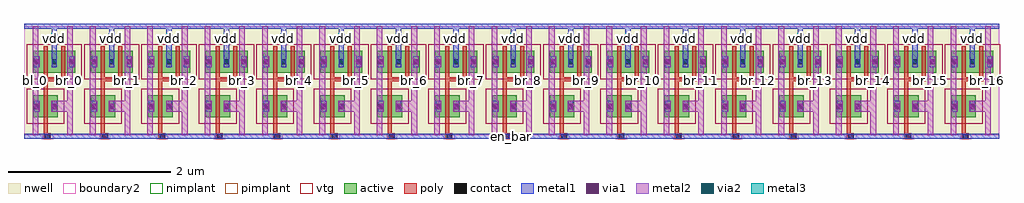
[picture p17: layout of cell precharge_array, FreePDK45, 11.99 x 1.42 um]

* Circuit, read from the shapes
.subckt precharge_array bl_0 bl_1 bl_10 bl_11 bl_12 bl_13 bl_14 bl_15 bl_16 bl_2 bl_3 bl_4 bl_5 bl_6 bl_7 bl_8 bl_9 br_0 br_1 br_10 br_11 br_12 br_13 br_14 br_15 br_16 br_2 br_3 br_4 br_5 br_6 br_7 br_8 br_9 en_bar vdd
M1 br_0 en_bar bl_0 vdd pfet w=0.27u l=0.05u
M2 vdd en_bar bl_0 vdd pfet w=0.27u l=0.05u
M3 br_0 en_bar vdd vdd pfet w=0.27u l=0.05u
M4 br_1 en_bar bl_1 vdd pfet w=0.27u l=0.05u
M5 vdd en_bar bl_1 vdd pfet w=0.27u l=0.05u
M6 br_1 en_bar vdd vdd pfet w=0.27u l=0.05u
M7 br_2 en_bar bl_2 vdd pfet w=0.27u l=0.05u
M8 vdd en_bar bl_2 vdd pfet w=0.27u l=0.05u
M9 br_2 en_bar vdd vdd pfet w=0.27u l=0.05u
M10 br_3 en_bar bl_3 vdd pfet w=0.27u l=0.05u
M11 vdd en_bar bl_3 vdd pfet w=0.27u l=0.05u
M12 br_3 en_bar vdd vdd pfet w=0.27u l=0.05u
M13 br_4 en_bar bl_4 vdd pfet w=0.27u l=0.05u
M14 vdd en_bar bl_4 vdd pfet w=0.27u l=0.05u
M15 br_4 en_bar vdd vdd pfet w=0.27u l=0.05u
M16 br_5 en_bar bl_5 vdd pfet w=0.27u l=0.05u
M17 vdd en_bar bl_5 vdd pfet w=0.27u l=0.05u
M18 br_5 en_bar vdd vdd pfet w=0.27u l=0.05u
M19 br_6 en_bar bl_6 vdd pfet w=0.27u l=0.05u
M20 vdd en_bar bl_6 vdd pfet w=0.27u l=0.05u
M21 br_6 en_bar vdd vdd pfet w=0.27u l=0.05u
M22 br_7 en_bar bl_7 vdd pfet w=0.27u l=0.05u
M23 vdd en_bar bl_7 vdd pfet w=0.27u l=0.05u
M24 br_7 en_bar vdd vdd pfet w=0.27u l=0.05u
M25 br_8 en_bar bl_8 vdd pfet w=0.27u l=0.05u
M26 vdd en_bar bl_8 vdd pfet w=0.27u l=0.05u
M27 br_8 en_bar vdd vdd pfet w=0.27u l=0.05u
M28 br_9 en_bar bl_9 vdd pfet w=0.27u l=0.05u
M29 vdd en_bar bl_9 vdd pfet w=0.27u l=0.05u
M30 br_9 en_bar vdd vdd pfet w=0.27u l=0.05u
M31 br_10 en_bar bl_10 vdd pfet w=0.27u l=0.05u
M32 vdd en_bar bl_10 vdd pfet w=0.27u l=0.05u
M33 br_10 en_bar vdd vdd pfet w=0.27u l=0.05u
M34 br_11 en_bar bl_11 vdd pfet w=0.27u l=0.05u
M35 vdd en_bar bl_11 vdd pfet w=0.27u l=0.05u
M36 br_11 en_bar vdd vdd pfet w=0.27u l=0.05u
M37 br_12 en_bar bl_12 vdd pfet w=0.27u l=0.05u
M38 vdd en_bar bl_12 vdd pfet w=0.27u l=0.05u
M39 br_12 en_bar vdd vdd pfet w=0.27u l=0.05u
M40 br_13 en_bar bl_13 vdd pfet w=0.27u l=0.05u
M41 vdd en_bar bl_13 vdd pfet w=0.27u l=0.05u
M42 br_13 en_bar vdd vdd pfet w=0.27u l=0.05u
M43 br_14 en_bar bl_14 vdd pfet w=0.27u l=0.05u
M44 vdd en_bar bl_14 vdd pfet w=0.27u l=0.05u
M45 br_14 en_bar vdd vdd pfet w=0.27u l=0.05u
M46 br_15 en_bar bl_15 vdd pfet w=0.27u l=0.05u
M47 vdd en_bar bl_15 vdd pfet w=0.27u l=0.05u
M48 br_15 en_bar vdd vdd pfet w=0.27u l=0.05u
M49 br_16 en_bar bl_16 vdd pfet w=0.27u l=0.05u
M50 vdd en_bar bl_16 vdd pfet w=0.27u l=0.05u
M51 br_16 en_bar vdd vdd pfet w=0.27u l=0.05u
.ends

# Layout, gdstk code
import gdstk
lib = gdstk.Library(unit=1e-6, precision=5e-10)
def R(c, l, rs):  # rectangles x0, y0, x1, y1
    for r in rs: c.add(gdstk.rectangle(r[:2], r[2:], *l))
def A(c, l, x, y, w, h, nx, ny, dx, dy):  # array of equal rectangles
    R(c, l, [(x+i*dx, y+j*dy, x+i*dx+w, y+j*dy+h) for i in range(nx) for j in range(ny)])
active = (1, 0)
nwell = (3, 0)
nimplant = (4, 0)
pimplant = (5, 0)
vtg = (6, 0)
poly = (9, 0)
contact = (10, 0)
metal1 = (11, 0)
via1 = (12, 0)
metal2 = (13, 0)
via2 = (14, 0)
metal3 = (15, 0)
boundary2 = (239, 0)

contact_9 = lib.new_cell('contact_9')
R(contact_9, active, [(0,0.0225,0.09,0.1125)])
R(contact_9, nwell, [(-0.055,-0.0325,0.145,0.1675)])
R(contact_9, pimplant, [(0,0.0225,0.09,0.1125)])
R(contact_9, contact, [(0.0125,0.035,0.0775,0.1)])
R(contact_9, metal1, [(0.0125,0,0.0775,0.135)])
R(contact_9, boundary2, [(-0.055,-0.0325,0.145,0.1675)])

pmos_m1_w0_270_sm1_dm1 = lib.new_cell('pmos_m1_w0_270_sm1_dm1')
R(pmos_m1_w0_270_sm1_dm1, active, [(0,0,0.305,0.27)])
R(pmos_m1_w0_270_sm1_dm1, nwell, [(-0.08,-0.08,0.385,0.35)])
R(pmos_m1_w0_270_sm1_dm1, pimplant, [(0,0,0.305,0.27)])
R(pmos_m1_w0_270_sm1_dm1, vtg, [(-0.08,-0.08,0.385,0.35)])
R(pmos_m1_w0_270_sm1_dm1, poly, [(0.1275,-0.055,0.1775,0.325), (0.1275,-0.055,0.1775,0.325)])
R(pmos_m1_w0_270_sm1_dm1, metal1, [(0.0125,0.0675,0.0775,0.2025), (0.2275,0.0675,0.2925,0.2025)])
R(pmos_m1_w0_270_sm1_dm1, boundary2, [(-0.08,-0.08,0.385,0.35)])
pmos_m1_w0_270_sm1_dm1.add(gdstk.Reference(contact_9, (0,0.0675)))
pmos_m1_w0_270_sm1_dm1.add(gdstk.Reference(contact_9, (0.215,0.0675)))
pmos_m1_w0_270_sm1_dm1.add(gdstk.Label('G', (0.1525,0.135), layer=9, texttype=0))
pmos_m1_w0_270_sm1_dm1.add(gdstk.Label('S', (0.045,0.135), layer=11, texttype=0))
pmos_m1_w0_270_sm1_dm1.add(gdstk.Label('D', (0.26,0.135), layer=11, texttype=0))

contact_10 = lib.new_cell('contact_10')
R(contact_10, poly, [(0.03,0,0.105,0.075)])
R(contact_10, contact, [(0.035,0.005,0.1,0.07)])
R(contact_10, metal1, [(0,0.005,0.135,0.07)])
R(contact_10, boundary2, [(0,0,0.135,0.075)])

contact_11 = lib.new_cell('contact_11')
R(contact_11, active, [(0.0225,0,0.1125,0.09)])
R(contact_11, nwell, [(-0.0325,-0.055,0.1675,0.145)])
R(contact_11, nimplant, [(0.0225,0,0.1125,0.09)])
R(contact_11, contact, [(0.035,0.0125,0.1,0.0775)])
R(contact_11, metal1, [(0,0.0125,0.135,0.0775)])
R(contact_11, boundary2, [(-0.0325,-0.055,0.1675,0.145)])

contact_6 = lib.new_cell('contact_6')
R(contact_6, metal1, [(0,0.035,0.135,0.1)])
R(contact_6, via1, [(0.035,0.035,0.1,0.1)])
R(contact_6, metal2, [(0.0325,0,0.1025,0.135)])
R(contact_6, boundary2, [(0,0,0.135,0.135)])

contact_12 = lib.new_cell('contact_12')
R(contact_12, metal1, [(0.0025,0,0.0675,0.135)])
R(contact_12, via1, [(0.0025,0.035,0.0675,0.1)])
R(contact_12, metal2, [(0,0,0.07,0.135)])
R(contact_12, boundary2, [(0,0,0.07,0.135)])

contact_13 = lib.new_cell('contact_13')
R(contact_13, metal2, [(0,0,0.07,0.135)])
R(contact_13, via2, [(0.0025,0.035,0.0675,0.1)])
R(contact_13, metal3, [(0,0,0.07,0.135)])
R(contact_13, boundary2, [(0,0,0.07,0.135)])

precharge_0 = lib.new_cell('precharge_0')
R(precharge_0, nwell, [(0,0,0.705,1.34)])
R(precharge_0, poly, [(0.24,-0.0375,0.29,0.0125), (0.265,-0.0375,0.29,0.0125), (0.24,-0.0125,0.29,0.165), (0.24,0.545,0.29,0.715), (0.24,0.665,0.505,0.715)])
R(precharge_0, metal1, [(0,-0.045,0.705,0.02), (0.34,0.8725,0.405,0.9375), (0.34,0.905,0.405,1.34), (0,1.3075,0.705,1.3725)])
R(precharge_0, metal2, [(0.105,0,0.175,1.34), (0.105,0,0.175,1.34), (0.53,0,0.6,1.34), (0.53,0,0.6,1.34), (0.14,0.2875,0.1575,0.4225), (0.3725,0.2875,0.565,0.4225), (0.14,0.8375,0.1575,0.9725), (0.565,0.8375,0.5875,0.9725)])
R(precharge_0, metal3, [(0.3375,1.1175,0.4075,1.2525)])
R(precharge_0, boundary2, [(0,0,0.705,1.34)])
precharge_0.add(gdstk.Reference(pmos_m1_w0_270_sm1_dm1, (0.1125,0.22)))
precharge_0.add(gdstk.Reference(pmos_m1_w0_270_sm1_dm1, (0.1125,0.77)))
precharge_0.add(gdstk.Reference(pmos_m1_w0_270_sm1_dm1, (0.3275,0.77)))
precharge_0.add(gdstk.Reference(contact_10, (0.2225,-0.05)))
precharge_0.add(gdstk.Reference(contact_11, (0.305,1.14)))
precharge_0.add(gdstk.Reference(contact_6, (0.305,1.1175)))
precharge_0.add(gdstk.Reference(contact_12, (0.3375,1.1175)))
precharge_0.add(gdstk.Reference(contact_13, (0.3375,1.1175)))
precharge_0.add(gdstk.Reference(contact_12, (0.1225,0.2875)))
precharge_0.add(gdstk.Reference(contact_12, (0.3375,0.2875)))
precharge_0.add(gdstk.Reference(contact_12, (0.1225,0.8375)))
precharge_0.add(gdstk.Reference(contact_12, (0.5525,0.8375)))
precharge_0.add(gdstk.Label('en_bar', (0.3525,-0.0125), layer=11, texttype=0))
precharge_0.add(gdstk.Label('vdd', (0.3725,1.185), layer=15, texttype=0))
precharge_0.add(gdstk.Label('bl', (0.14,0.67), layer=13, texttype=0))
precharge_0.add(gdstk.Label('br', (0.565,0.67), layer=13, texttype=0))

precharge_array = lib.new_cell('precharge_array')
A(precharge_array, metal1, 0.32, -0.045, 0.065, 0.065, 17, 1, 0.705, 0)
R(precharge_array, metal1, [(0,-0.045,11.985,0.02)])
R(precharge_array, metal2, [(0.105,0,0.175,1.34), (0.53,0,0.6,1.34), (0.81,0,0.88,1.34), (1.235,0,1.305,1.34), (1.515,0,1.585,1.34), (1.94,0,2.01,1.34), (2.22,0,2.29,1.34), (2.645,0,2.715,1.34), (2.925,0,2.995,1.34), (3.35,0,3.42,1.34), (3.63,0,3.7,1.34), (4.055,0,4.125,1.34), (4.335,0,4.405,1.34), (4.76,0,4.83,1.34), (5.04,0,5.11,1.34), (5.465,0,5.535,1.34), (5.745,0,5.815,1.34), (6.17,0,6.24,1.34), (6.45,0,6.52,1.34), (6.875,0,6.945,1.34), (7.155,0,7.225,1.34), (7.58,0,7.65,1.34), (7.86,0,7.93,1.34), (8.285,0,8.355,1.34), (8.565,0,8.635,1.34), (8.99,0,9.06,1.34), (9.27,0,9.34,1.34), (9.695,0,9.765,1.34), (9.975,0,10.045,1.34), (10.4,0,10.47,1.34), (10.68,0,10.75,1.34), (11.105,0,11.175,1.34), (11.385,0,11.455,1.34), (11.81,0,11.88,1.34)])
A(precharge_array, metal3, 0.3375, 1.1175, 0.07, 0.135, 17, 1, 0.705, 0)
R(precharge_array, boundary2, [(0,0,11.985,1.34)])
precharge_array.add(gdstk.Reference(precharge_0, (0,0)))
precharge_array.add(gdstk.Reference(precharge_0, (0.705,0)))
precharge_array.add(gdstk.Reference(precharge_0, (1.41,0)))
precharge_array.add(gdstk.Reference(precharge_0, (2.115,0)))
precharge_array.add(gdstk.Reference(precharge_0, (2.82,0)))
precharge_array.add(gdstk.Reference(precharge_0, (3.525,0)))
precharge_array.add(gdstk.Reference(precharge_0, (4.23,0)))
precharge_array.add(gdstk.Reference(precharge_0, (4.935,0)))
precharge_array.add(gdstk.Reference(precharge_0, (5.64,0)))
precharge_array.add(gdstk.Reference(precharge_0, (6.345,0)))
precharge_array.add(gdstk.Reference(precharge_0, (7.05,0)))
precharge_array.add(gdstk.Reference(precharge_0, (7.755,0)))
precharge_array.add(gdstk.Reference(precharge_0, (8.46,0)))
precharge_array.add(gdstk.Reference(precharge_0, (9.165,0)))
precharge_array.add(gdstk.Reference(precharge_0, (9.87,0)))
precharge_array.add(gdstk.Reference(precharge_0, (10.575,0)))
precharge_array.add(gdstk.Reference(precharge_0, (11.28,0)))
precharge_array.add(gdstk.Label('en_bar', (5.9925,-0.0125), layer=11, texttype=0))
precharge_array.add(gdstk.Label('vdd', (9.5375,1.185), layer=15, texttype=0))
precharge_array.add(gdstk.Label('vdd', (6.7175,1.185), layer=15, texttype=0))
precharge_array.add(gdstk.Label('vdd', (6.0125,1.185), layer=15, texttype=0))
precharge_array.add(gdstk.Label('vdd', (0.3725,1.185), layer=15, texttype=0))
precharge_array.add(gdstk.Label('vdd', (8.1275,1.185), layer=15, texttype=0))
precharge_array.add(gdstk.Label('vdd', (7.4225,1.185), layer=15, texttype=0))
precharge_array.add(gdstk.Label('vdd', (3.1925,1.185), layer=15, texttype=0))
precharge_array.add(gdstk.Label('vdd', (8.8325,1.185), layer=15, texttype=0))
precharge_array.add(gdstk.Label('vdd', (10.2425,1.185), layer=15, texttype=0))
precharge_array.add(gdstk.Label('vdd', (10.9475,1.185), layer=15, texttype=0))
precharge_array.add(gdstk.Label('vdd', (2.4875,1.185), layer=15, texttype=0))
precharge_array.add(gdstk.Label('vdd', (3.8975,1.185), layer=15, texttype=0))
precharge_array.add(gdstk.Label('vdd', (1.7825,1.185), layer=15, texttype=0))
precharge_array.add(gdstk.Label('vdd', (4.6025,1.185), layer=15, texttype=0))
precharge_array.add(gdstk.Label('vdd', (5.3075,1.185), layer=15, texttype=0))
precharge_array.add(gdstk.Label('vdd', (11.6525,1.185), layer=15, texttype=0))
precharge_array.add(gdstk.Label('vdd', (1.0775,1.185), layer=15, texttype=0))
precharge_array.add(gdstk.Label('bl_0', (0.14,0.67), layer=13, texttype=0))
precharge_array.add(gdstk.Label('br_0', (0.565,0.67), layer=13, texttype=0))
precharge_array.add(gdstk.Label('bl_1', (0.845,0.67), layer=13, texttype=0))
precharge_array.add(gdstk.Label('br_1', (1.27,0.67), layer=13, texttype=0))
precharge_array.add(gdstk.Label('bl_2', (1.55,0.67), layer=13, texttype=0))
precharge_array.add(gdstk.Label('br_2', (1.975,0.67), layer=13, texttype=0))
precharge_array.add(gdstk.Label('bl_3', (2.255,0.67), layer=13, texttype=0))
precharge_array.add(gdstk.Label('br_3', (2.68,0.67), layer=13, texttype=0))
precharge_array.add(gdstk.Label('bl_4', (2.96,0.67), layer=13, texttype=0))
precharge_array.add(gdstk.Label('br_4', (3.385,0.67), layer=13, texttype=0))
precharge_array.add(gdstk.Label('bl_5', (3.665,0.67), layer=13, texttype=0))
precharge_array.add(gdstk.Label('br_5', (4.09,0.67), layer=13, texttype=0))
precharge_array.add(gdstk.Label('bl_6', (4.37,0.67), layer=13, texttype=0))
precharge_array.add(gdstk.Label('br_6', (4.795,0.67), layer=13, texttype=0))
precharge_array.add(gdstk.Label('bl_7', (5.075,0.67), layer=13, texttype=0))
precharge_array.add(gdstk.Label('br_7', (5.5,0.67), layer=13, texttype=0))
precharge_array.add(gdstk.Label('bl_8', (5.78,0.67), layer=13, texttype=0))
precharge_array.add(gdstk.Label('br_8', (6.205,0.67), layer=13, texttype=0))
precharge_array.add(gdstk.Label('bl_9', (6.485,0.67), layer=13, texttype=0))
precharge_array.add(gdstk.Label('br_9', (6.91,0.67), layer=13, texttype=0))
precharge_array.add(gdstk.Label('bl_10', (7.19,0.67), layer=13, texttype=0))
precharge_array.add(gdstk.Label('br_10', (7.615,0.67), layer=13, texttype=0))
precharge_array.add(gdstk.Label('bl_11', (7.895,0.67), layer=13, texttype=0))
precharge_array.add(gdstk.Label('br_11', (8.32,0.67), layer=13, texttype=0))
precharge_array.add(gdstk.Label('bl_12', (8.6,0.67), layer=13, texttype=0))
precharge_array.add(gdstk.Label('br_12', (9.025,0.67), layer=13, texttype=0))
precharge_array.add(gdstk.Label('bl_13', (9.305,0.67), layer=13, texttype=0))
precharge_array.add(gdstk.Label('br_13', (9.73,0.67), layer=13, texttype=0))
precharge_array.add(gdstk.Label('bl_14', (10.01,0.67), layer=13, texttype=0))
precharge_array.add(gdstk.Label('br_14', (10.435,0.67), layer=13, texttype=0))
precharge_array.add(gdstk.Label('bl_15', (10.715,0.67), layer=13, texttype=0))
precharge_array.add(gdstk.Label('br_15', (11.14,0.67), layer=13, texttype=0))
precharge_array.add(gdstk.Label('bl_16', (11.42,0.67), layer=13, texttype=0))
precharge_array.add(gdstk.Label('br_16', (11.845,0.67), layer=13, texttype=0))

lib.write_gds('precharge_array.gds')
